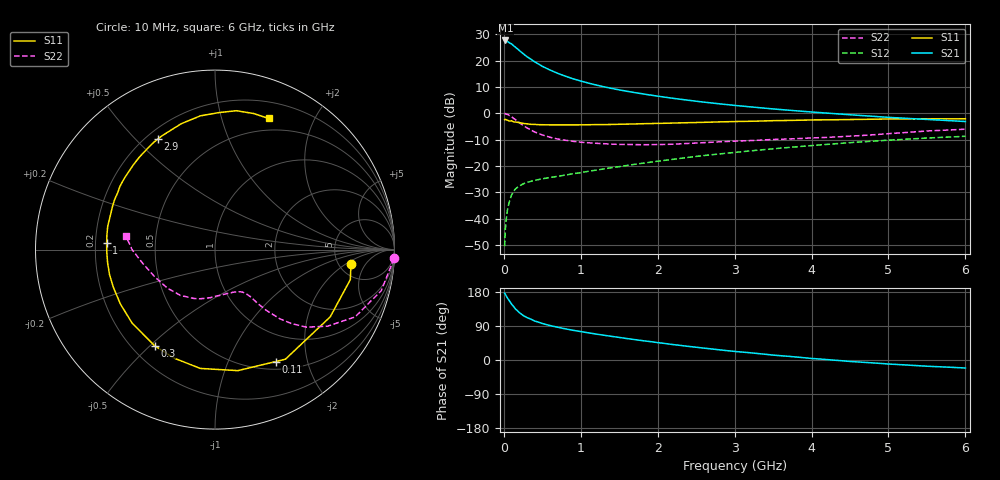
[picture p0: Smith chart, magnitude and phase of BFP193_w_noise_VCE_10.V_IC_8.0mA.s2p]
! Infineon Technologies  Discrete & RF Semiconductors
! BFP193
! VCE =  10. V,  IC =  8.0 mA
! Common Emitter S-Parameters:  Jan 2017
# GHz  S  MA  R  50
!  f  S11  S21  S12  S22
! GHz  MAG  ANG  MAG  ANG  MAG  ANG  MAG  ANG
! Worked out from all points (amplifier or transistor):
!   77 points, 10 MHz to 6 GHz, reference 50 ohm
!   highest |S21| = 27.7 dB at 20 MHz (marker M1)
!   |S21| within 3 dB of that: start of sweep to 168.4 MHz
!   unconditionally stable (mu >= 1): 1.248 GHz to 2.603 GHz
!   at 130 MHz: K = 0.20, MSG = 27.6 dB, |S12| = -29.6 dB
!   at 2.2 GHz: K = 1.04, MAG = 10.4 dB, |S12| = -17.5 dB
!   at 6 GHz: K = 0.85, MSG = 2.8 dB, |S12| = -8.7 dB
!   lowest NFmin = 0.85 dB at 450 MHz
!   S11 on the Smith chart (normalised r, x): 10 MHz: 6.39, -2.51; 110 MHz: 0.60, -1.51; 300 MHz: 0.29, -0.52; 1 GHz: 0.25, +0.03; 2.9 GHz: 0.25, +0.58; 6 GHz: 0.37, +1.42
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0.01  0.7618 -6.2  24.04 176.3  0.003 80.9  0.9988 -2.8
0.02  0.7724 -12.5  24.26 172.9  0.0064 90.6  0.983 -5.8
0.05  0.7433 -30.3  23.12 162.5  0.0155 73.5  0.9542 -13.9
0.1  0.7258 -57.3  20.9 147.4  0.0279 64.5  0.8658 -25.7
0.11  0.7098 -61.5  20.27 145.2  0.0296 62.1  0.8431 -27.2
0.15  0.6862 -79.3  18.1 134.9  0.0367 54.8  0.7591 -34.2
0.2  0.6672 -97.1  15.7 125.4  0.0417 49.9  0.6681 -40.3
0.25  0.6459 -111.0  13.64 117.6  0.0457 44.8  0.5915 -44.1
0.3  0.6323 -122.2  11.95 112.0  0.0488 43.2  0.5293 -46.8
0.4  0.6173 -138.4  9.532 102.9  0.0533 41.2  0.4434 -49.8
0.5  0.6081 -150.2  7.839 96.3  0.0571 40.1  0.389 -51.4
0.6  0.604 -159.6  6.661 90.9  0.0606 40.6  0.3516 -52.4
0.7  0.604 -166.6  5.762 86.4  0.0636 41.8  0.3255 -53.2
1  0.6047 176.5  4.114 75.0  0.0749 45.5  0.2832 -56.9
1.1  0.6079 172.0  3.757 71.7  0.0794 46.4  0.2761 -58.5
1.5  0.6205 156.7  2.791 59.6  0.0973 49.2  0.2574 -67.6
2.1  0.6486 137.3  2.024 43.4  0.1285 50.1  0.2573 -85.8
2.9  0.6934 117.3  1.467 24.8  0.1752 46.8  0.2922 -110.7
3.1  0.7029 113.0  1.373 20.9  0.1872 45.4  0.3 -116.4
4.1  0.7512 94.7  1.036 2.7  0.2508 37.0  0.3451 -144.3
5.1  0.7831 79.8  0.825 -11.7  0.3152 26.2  0.4205 -171.9
6  0.7893 67.8  0.7 -21.1  0.3671 15.7  0.5004 171.5
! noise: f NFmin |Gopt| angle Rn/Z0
0.45  0.85  0.21  129  0.09
0.9  0.97  0.36  162  0.07
1.9  1.79  0.58  -148  0.12
2.4  2.19  0.64  -129  0.31
